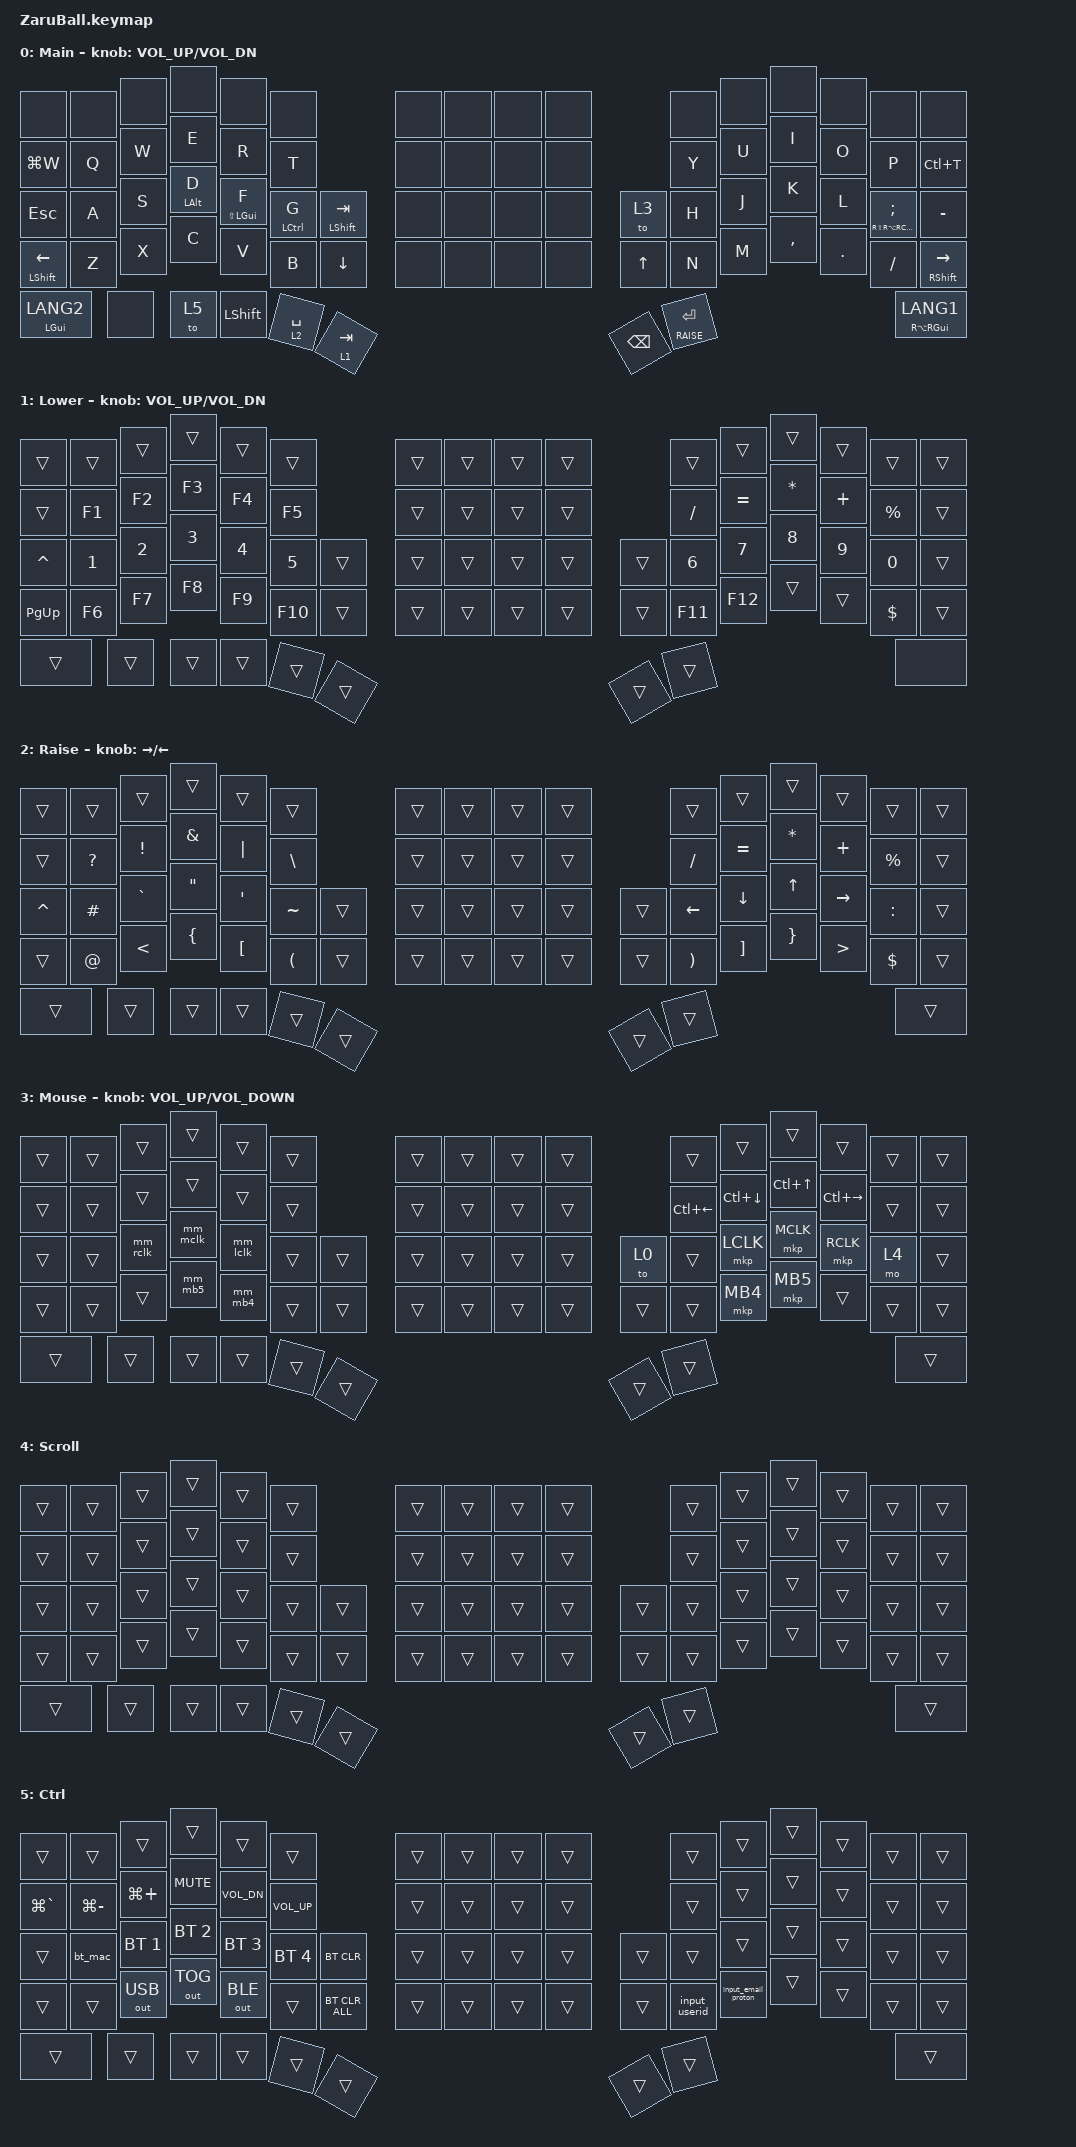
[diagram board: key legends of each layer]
#include <behaviors/rgbled_widget.dtsi>
#include <dt-bindings/zmk/mouse.h>
#include <input/processors.dtsi>
#include <input/processors/scroll_stepper.dtsi>
#include <dt-bindings/zmk/input_transform.h>
#include <behaviors.dtsi>
#include <dt-bindings/zmk/bt.h>
#include <dt-bindings/zmk/keys.h>
#include <dt-bindings/zmk/outputs.h>
#include <dt-bindings/zmk/pointing.h>

// ZMK Studio unlock behavior

&studio_unlock {
};

// Layer definitions

#define MAIN     0  // Main
#define LOWER    1  // Numbers/Symbols
#define RAISE    2  // Symbols/Navigation
#define MOUSE    3  // Mouse
#define SCROLL   4  // Scroll
#define CONTROL  5  // BT/System

// trackball_listener settings

&trackball_listener {
    input-processors = <
        &zip_xy_scaler 2 3
        &zip_xy_transform (INPUT_TRANSFORM_XY_SWAP | INPUT_TRANSFORM_Y_INVERT | INPUT_TRANSFORM_X_INVERT)
    >;

    scroller {
        layers = <SCROLL>;
        input-processors = <
            &zip_xy_transform (INPUT_TRANSFORM_XY_SWAP | INPUT_TRANSFORM_X_INVERT | INPUT_TRANSFORM_Y_INVERT)
            &zip_xy_scaler 1 30
            &zip_xy_to_scroll_mapper
            &zip_scroll_transform (INPUT_TRANSFORM_X_INVERT | INPUT_TRANSFORM_Y_INVERT)
            &zb_scroll_stepper
        >;
    };
};

// layer-tap settings

&lt {
    tapping-term-ms = <200>;
    hold-trigger-on-release;
};

/ {
    behaviors {
        // Homerow mods (prevent misfires during fast typing)
        // - balanced: good balance between tap and hold
        // - require-prior-idle-ms: won't trigger modifier while typing
        // - hold-trigger-on-release: evaluate on key release (prevent misfires)

        HRM: homerow_mods {
            compatible = "zmk,behavior-hold-tap";
            #binding-cells = <2>;
            flavor = "balanced";
            tapping-term-ms = <300>;
            quick-tap-ms = <200>;
            require-prior-idle-ms = <200>;
            hold-trigger-on-release;
            bindings = <&kp>, <&kp>;

            display-name = "HRM";
        };

        // Normal modifier keys (for thumb/edge keys, standard response)

        SandS: SandS {
            compatible = "zmk,behavior-hold-tap";
            #binding-cells = <2>;
            flavor = "balanced";
            tapping-term-ms = <200>;
            bindings = <&kp>, <&kp>;

            display-name = "SandS";
        };

        // Mouse layer: hold for modifier, tap for language switch + return to main

        ht_l2: ht_lang2 {
            compatible = "zmk,behavior-hold-tap";
            #binding-cells = <2>;
            flavor = "balanced";
            tapping-term-ms = <200>;
            bindings = <&kp>, <&lang2>;
        };

        ht_l1: ht_lang1 {
            compatible = "zmk,behavior-hold-tap";
            #binding-cells = <2>;
            flavor = "balanced";
            tapping-term-ms = <200>;
            bindings = <&kp>, <&lang1>;
        };

        // Mouse button + shortcut support (when Cmd/Ctrl held, send original key)

        mm_rclk: mm_rclk {
            compatible = "zmk,behavior-mod-morph";
            #binding-cells = <0>;
            bindings = <&mkp RCLK>, <&kp S>;

            mods = <(0x99)>;  // MOD_LGUI|MOD_RGUI|MOD_LCTL|MOD_RCTL
            keep-mods = <(0x99)>;
        };

        mm_mclk: mm_mclk {
            compatible = "zmk,behavior-mod-morph";
            #binding-cells = <0>;
            bindings = <&mkp MCLK>, <&kp D>;

            mods = <(0x99)>;  // MOD_LGUI|MOD_RGUI|MOD_LCTL|MOD_RCTL
            keep-mods = <(0x99)>;
        };

        mm_lclk: mm_lclk {
            compatible = "zmk,behavior-mod-morph";
            #binding-cells = <0>;
            bindings = <&mkp LCLK>, <&kp F>;

            mods = <(0x99)>;  // MOD_LGUI|MOD_RGUI|MOD_LCTL|MOD_RCTL
            keep-mods = <(0x99)>;
        };

        mm_mb5: mm_mb5 {
            compatible = "zmk,behavior-mod-morph";
            #binding-cells = <0>;
            bindings = <&mkp MB5>, <&kp C>;

            mods = <(0x99)>;  // MOD_LGUI|MOD_RGUI|MOD_LCTL|MOD_RCTL
            keep-mods = <(0x99)>;
        };

        mm_mb4: mm_mb4 {
            compatible = "zmk,behavior-mod-morph";
            #binding-cells = <0>;
            bindings = <&mkp MB4>, <&kp V>;

            mods = <(0x99)>;  // MOD_LGUI|MOD_RGUI|MOD_LCTL|MOD_RCTL
            keep-mods = <(0x99)>;
        };
    };
};

/ {
    macros {
        input_userid: input_userid {
            compatible = "zmk,behavior-macro";
            #binding-cells = <0>;
            bindings = <&kp R &kp N1 &kp C &kp LS(A) &kp N1 &kp N8>;
        };

        input_email_proton: input_email_proton {
            compatible = "zmk,behavior-macro";
            #binding-cells = <0>;
            bindings = <&kp R &kp N1 &kp C &kp LS(A) &kp N1 &kp N8 &kp AT &kp P &kp R &kp O &kp T &kp O &kp N &kp DOT &kp M &kp E>;
        };

        // BT connection + base layer switch macro

        bt_mac: bt_mac {
            compatible = "zmk,behavior-macro";
            #binding-cells = <0>;
            bindings = <&bt BT_SEL 0 &to MAIN>;
        };

        // Language switch + return to main layer macros

        lang2: lang2 {
            compatible = "zmk,behavior-macro";
            #binding-cells = <0>;
            bindings = <&kp LANG2 &to MAIN>;
        };

        lang1: lang1 {
            compatible = "zmk,behavior-macro";
            #binding-cells = <0>;
            bindings = <&kp LANG1 &to MAIN>;
        };
    };
};

/ {
    keymap {
        compatible = "zmk,keymap";

        // ==================== MAIN LAYER ====================

        main_layer {
            display-name = "Main";
            sensor-bindings = <&inc_dec_kp C_VOL_UP C_VOL_DN>;
            bindings = <
&none                 &none  &none  &none            &none                &none                                         &none  &none  &none  &none              &none            &none  &none      &none    &none                            &none
&kp LG(W)             &kp Q  &kp W  &kp E            &kp R                &kp T                                         &none  &none  &none  &none              &kp Y            &kp U  &kp I      &kp O    &kp P                            &kp LC(T)
&kp ESC               &kp A  &kp S  &HRM LEFT_ALT D  &HRM LS(LEFT_GUI) F  &HRM LEFT_CONTROL G  &SandS LEFT_SHIFT TAB    &none  &none  &none  &none    &to 3     &kp H            &kp J  &kp K      &kp L    &HRM RS(RA(RC(RIGHT_GUI))) SEMI  &kp MINUS
&HRM LEFT_SHIFT LEFT  &kp Z  &kp X  &kp C            &kp V                &kp B                &kp DOWN                 &none  &none  &none  &none    &kp UP    &kp N            &kp M  &kp COMMA  &kp DOT  &kp FSLH                         &HRM RIGHT_SHIFT RIGHT
&SandS LGUI LANG2     &none         &to 5            &kp LEFT_SHIFT       &lt 2 SPACE          &lt 1 TAB                                              &kp BSPC  &lt RAISE ENTER                                                              &SandS RA(RIGHT_GUI) LANG1
            >;
        };

        // ==================== FUNCTION LAYERS ====================
        // ========== Lower Layer ==========

        lower_layer {
            display-name = "Lower";
            sensor-bindings = <&inc_dec_kp C_VOL_UP C_VOL_DN>;
            bindings = <
&trans     &trans  &trans  &trans  &trans  &trans             &trans  &trans  &trans  &trans            &trans    &trans     &trans    &trans    &trans     &trans
&trans     &kp F1  &kp F2  &kp F3  &kp F4  &kp F5             &trans  &trans  &trans  &trans            &kp FSLH  &kp EQUAL  &kp STAR  &kp PLUS  &kp PRCNT  &trans
&kp CARET  &kp N1  &kp N2  &kp N3  &kp N4  &kp N5   &trans    &trans  &trans  &trans  &trans    &trans  &kp N6    &kp N7     &kp N8    &kp N9    &kp N0     &trans
&kp PG_UP  &kp F6  &kp F7  &kp F8  &kp F9  &kp F10  &trans    &trans  &trans  &trans  &trans    &trans  &kp F11   &kp F12    &trans    &trans    &kp DLLR   &trans
&trans     &trans          &trans  &trans  &trans   &trans                                      &trans  &trans                                              &none
            >;
        };

        // ========== Raise Layer ==========

        raise_layer {
            display-name = "Raise";
            sensor-bindings = <&inc_dec_kp RIGHT LEFT>;
            bindings = <
&trans     &trans     &trans     &trans    &trans    &trans               &trans  &trans  &trans  &trans            &trans    &trans     &trans    &trans     &trans     &trans
&trans     &kp QMARK  &kp EXCL   &kp AMPS  &kp PIPE  &kp BSLH             &trans  &trans  &trans  &trans            &kp FSLH  &kp EQUAL  &kp STAR  &kp PLUS   &kp PRCNT  &trans
&kp CARET  &kp POUND  &kp GRAVE  &kp DQT   &kp SQT   &kp TILDE  &trans    &trans  &trans  &trans  &trans    &trans  &kp LEFT  &kp DOWN   &kp UP    &kp RIGHT  &kp COLON  &trans
&trans     &kp AT     &kp LT     &kp LBRC  &kp LBKT  &kp LPAR   &trans    &trans  &trans  &trans  &trans    &trans  &kp RPAR  &kp RBKT   &kp RBRC  &kp GT     &kp DLLR   &trans
&trans     &trans                &trans    &trans    &trans     &trans                                      &trans  &trans                                               &trans
            >;
        };

        // ==================== MOUSE LAYER ====================

        mouse_layer {
            display-name = "Mouse";
            sensor-bindings = <&inc_dec_kp C_VOLUME_UP C_VOLUME_DOWN>;
            bindings = <
&trans  &trans  &trans    &trans    &trans    &trans            &trans  &trans  &trans  &trans            &trans        &trans        &trans      &trans         &trans  &trans
&trans  &trans  &trans    &trans    &trans    &trans            &trans  &trans  &trans  &trans            &kp LC(LEFT)  &kp LC(DOWN)  &kp LC(UP)  &kp LC(RIGHT)  &trans  &trans
&trans  &trans  &mm_rclk  &mm_mclk  &mm_lclk  &trans  &trans    &trans  &trans  &trans  &trans    &to 0   &trans        &mkp LCLK     &mkp MCLK   &mkp RCLK      &mo 4   &trans
&trans  &trans  &trans    &mm_mb5   &mm_mb4   &trans  &trans    &trans  &trans  &trans  &trans    &trans  &trans        &mkp MB4      &mkp MB5    &trans         &trans  &trans
&trans  &trans            &trans    &trans    &trans  &trans                                      &trans  &trans                                                         &trans
            >;
        };

        // ========== Scroll Layer ==========

        scroll_layer {
            display-name = "Scroll";
            bindings = <
&trans  &trans  &trans  &trans  &trans  &trans            &trans  &trans  &trans  &trans            &trans  &trans  &trans  &trans  &trans  &trans
&trans  &trans  &trans  &trans  &trans  &trans            &trans  &trans  &trans  &trans            &trans  &trans  &trans  &trans  &trans  &trans
&trans  &trans  &trans  &trans  &trans  &trans  &trans    &trans  &trans  &trans  &trans    &trans  &trans  &trans  &trans  &trans  &trans  &trans
&trans  &trans  &trans  &trans  &trans  &trans  &trans    &trans  &trans  &trans  &trans    &trans  &trans  &trans  &trans  &trans  &trans  &trans
&trans  &trans          &trans  &trans  &trans  &trans                                      &trans  &trans                                  &trans
            >;
        };

        // ========== Control Layer (BT/System) ==========

        control_layer {
            display-name = "Ctrl";
            bindings = <
&trans         &trans         &trans        &trans        &trans        &trans                          &trans  &trans  &trans  &trans            &trans         &trans               &trans  &trans  &trans  &trans
&kp LG(GRAVE)  &kp LG(MINUS)  &kp LG(PLUS)  &kp C_MUTE    &kp C_VOL_DN  &kp C_VOL_UP                    &trans  &trans  &trans  &trans            &trans         &trans               &trans  &trans  &trans  &trans
&trans         &bt_mac        &bt BT_SEL 1  &bt BT_SEL 2  &bt BT_SEL 3  &bt BT_SEL 4  &bt BT_CLR        &trans  &trans  &trans  &trans    &trans  &trans         &trans               &trans  &trans  &trans  &trans
&trans         &trans         &out OUT_USB  &out OUT_TOG  &out OUT_BLE  &trans        &bt BT_CLR_ALL    &trans  &trans  &trans  &trans    &trans  &input_userid  &input_email_proton  &trans  &trans  &trans  &trans
&trans         &trans                       &trans        &trans        &trans        &trans                                              &trans  &trans                                                      &trans
            >;
        };

        // Extra layer can be added in ZMK STUDIO
    };
};
